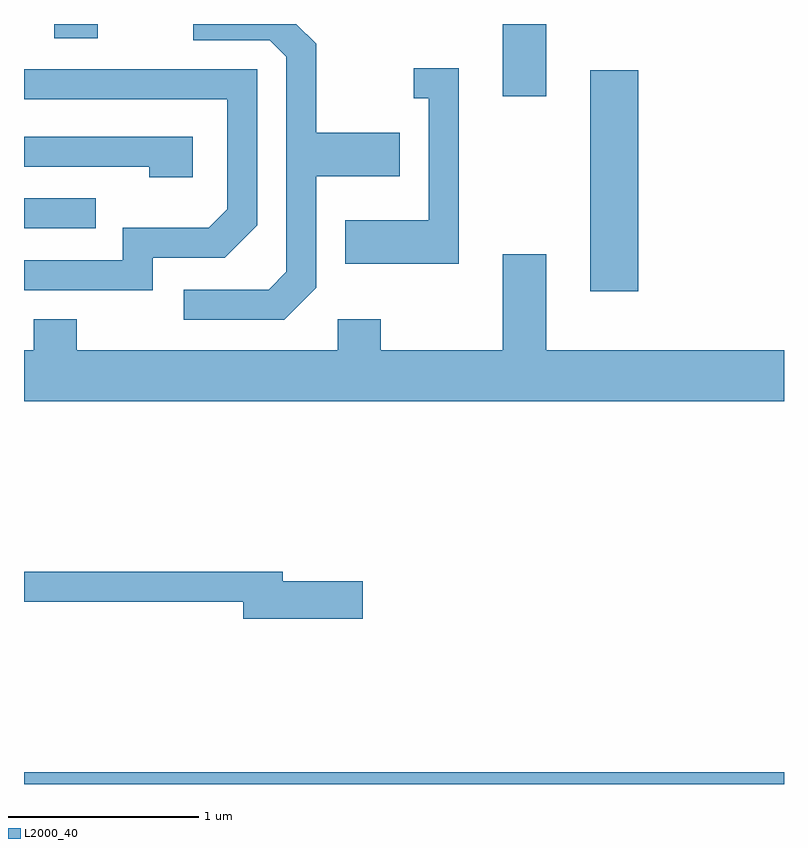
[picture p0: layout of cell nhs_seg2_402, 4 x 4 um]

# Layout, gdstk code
import gdstk
lib = gdstk.Library(unit=1e-6, precision=1e-09)
def R(c, l, rs):  # rectangles x0, y0, x1, y1
    for r in rs: c.add(gdstk.rectangle(r[:2], r[2:], *l))
def P(c, l, *ps):  # polygons
    for p in ps: c.add(gdstk.Polygon(p, *l))
L2000_40 = (2000, 40)

nhs_seg2_402 = lib.new_cell('nhs_seg2_402')
R(nhs_seg2_402, L2000_40, [(195.611,1101.802,199.611,1101.864), (198.591,1104.396,198.844,1105.559), (195.611,1104.726,195.988,1104.884), (198.131,1105.421,198.359,1105.802), (195.771,1105.726,195.999,1105.802)])
P(nhs_seg2_402, L2000_40, [(197.149,1104.414),(197.149,1105.001),(197.589,1105.001),(197.589,1105.229),(197.149,1105.229),(197.149,1105.697),(197.044,1105.802),(196.503,1105.802),(196.503,1105.716),(196.904,1105.716),(196.991,1105.629),(196.991,1104.497),(196.899,1104.404),(196.453,1104.404),(196.453,1104.246),(196.982,1104.246)],
  [(197.899,1105.569),(197.663,1105.569),(197.663,1105.411),(197.741,1105.411),(197.741,1104.769),(197.301,1104.769),(197.301,1104.541),(197.899,1104.541)],
  [(196.289,1104.571),(196.667,1104.571),(196.839,1104.744),(196.839,1105.564),(195.611,1105.564),(195.611,1105.406),(196.681,1105.406),(196.681,1104.827),(196.584,1104.729),(196.131,1104.729),(196.131,1104.559),(195.611,1104.559),(195.611,1104.401),(196.289,1104.401)],
  [(196.499,1105.209),(195.611,1105.209),(195.611,1105.051),(196.271,1105.051),(196.271,1104.996),(196.499,1104.996)],
  [(199.611,1104.084),(198.359,1104.084),(198.359,1104.589),(198.131,1104.589),(198.131,1104.084),(197.489,1104.084),(197.489,1104.249),(197.261,1104.249),(197.261,1104.084),(195.889,1104.084),(195.889,1104.249),(195.661,1104.249),(195.661,1104.084),(195.611,1104.084),(195.611,1103.816),(199.611,1103.816)],
  [(197.394,1102.869),(196.974,1102.869),(196.974,1102.919),(195.611,1102.919),(195.611,1102.761),(196.766,1102.761),(196.766,1102.671),(197.394,1102.671)])

lib.write_gds('nhs_seg2_402.gds')
